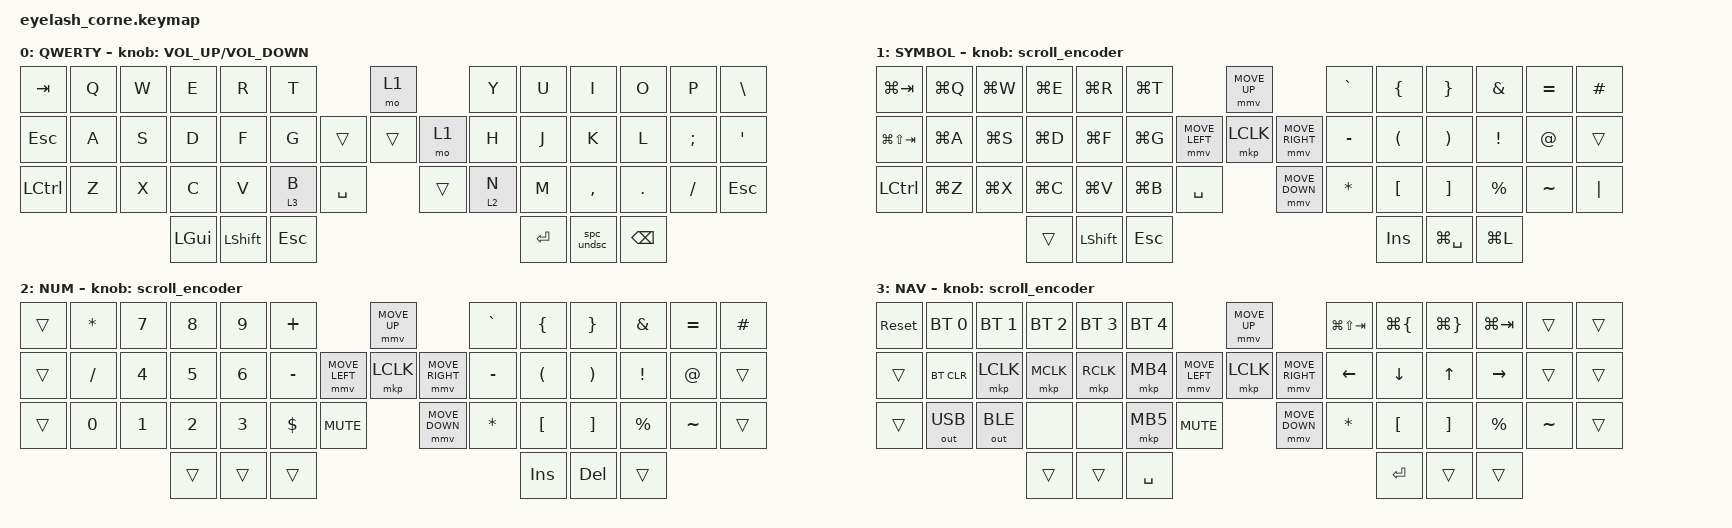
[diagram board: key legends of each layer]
#include <behaviors.dtsi>
#include <dt-bindings/zmk/bt.h>
#include <dt-bindings/zmk/keys.h>
#include <dt-bindings/zmk/mouse.h>
#include <dt-bindings/zmk/outputs.h>
#include <dt-bindings/zmk/rgb.h>

#include <input/processors.dtsi>

/*

   &mmv_input_listener {
       input-processors = <&zip_xy_scaler 2 1>;
   };

   &msc_input_listener {
       input-processors = <&zip_xy_scaler 2 1>;
   };

 */

#define ZMK_MOUSE_DEFAULT_MOVE_VAL 1200  // 600
#define ZMK_MOUSE_DEFAULT_SCRL_VAL 20    // 10

/ {
    behaviors {
        td0: td0 {
            compatible = "zmk,behavior-tap-dance";
            display-name = "Shift/Caps Lock Tap Dance";
            #binding-cells = <0>;
            bindings = <&kp LEFT_SHIFT>, <&kp CAPS>;
        };
    };

    rgb_encoder: rgb_encoder {
        compatible = "zmk,behavior-sensor-rotate";
        #sensor-binding-cells = <0>;
        bindings = <&rgb_ug RGB_BRI>, <&rgb_ug RGB_BRD>;
    };

    scroll_encoder: scroll_encoder {
        compatible = "zmk,behavior-sensor-rotate";
        #sensor-binding-cells = <0>;
        bindings = <&msc SCRL_DOWN>, <&msc SCRL_UP>;
        tap-ms = <30>;
    };
    spc_undsc: spc_undsc {
        compatible = "zmk,behavior-mod-morph";
        label = "SPACE_UNDERSCORE";
        #binding-cells = <0>;
        bindings = <&kp SPACE>, <&kp UNDER>;
        mods = <(MOD_LSFT)>;
        keep-mods = <(MOD_LSFT)>;
    };

    keymap {
        compatible = "zmk,keymap";

        default_layer {
            display-name = "QWERTY";
            bindings = <
&kp TAB    &kp Q  &kp W      &kp E     &kp R  &kp T                              &mo 1               &kp Y        &kp U  &kp I      &kp O    &kp P     &kp BSLH
&kp ESC    &kp A  &kp S      &kp D     &kp F  &kp G                    &trans    &trans  &mo 1       &kp H        &kp J  &kp K      &kp L    &kp SEMI  &kp SQT
&kp LCTRL  &kp Z  &kp X      &kp C     &kp V  &lt 3 B  &kp SPACE                 &trans              &lt 2 N        &kp M  &kp COMMA  &kp DOT  &kp FSLH  &kp ESC
                             &kp LGUI  &kp LEFT_SHIFT  &kp ESC                                         &kp ENTER    &spc_undsc   &kp BSPC
            >;
            sensor-bindings = <&inc_dec_kp C_VOLUME_UP C_VOLUME_DOWN>;
        };

        lower_layer {
            display-name = "SYMBOL";
            bindings = <
&kp LG(TAB)     &kp LG(Q)  &kp LG(W)     &kp LG(E)     &kp LG(R)  &kp LG(T)                           &mmv MOVE_UP                      &kp GRAVE     &kp LEFT_BRACE        &kp RIGHT_BRACE        &kp AMPERSAND    &kp EQUAL  &kp HASH
&kp LG(LS(TAB)) &kp LG(A)  &kp LG(S)     &kp LG(D)     &kp LG(F)  &kp LG(G)           &mmv MOVE_LEFT  &mkp LCLK       &mmv MOVE_RIGHT   &kp MINUS     &kp LEFT_PARENTHESIS  &kp RIGHT_PARENTHESIS  &kp EXCLAMATION  &kp AT     &trans
&kp LCTRL       &kp LG(Z)  &kp LG(X)     &kp LG(C)     &kp LG(V)  &kp LG(B) &kp SPACE                 &mmv MOVE_DOWN                    &kp ASTERISK  &kp LEFT_BRACKET      &kp RIGHT_BRACKET      &kp PERCENT      &kp TILDE  &kp PIPE
                                  &trans     &kp LEFT_SHIFT  &kp ESC                                                                    &kp INS       &kp LG(SPACE)         &kp LG(L)
            >;
            sensor-bindings = <&scroll_encoder>;
        };

        num_layer {
            display-name = "NUM";
            bindings = <
&trans  &kp ASTERISK  &kp NUMBER_7  &kp NUMBER_8  &kp NUMBER_9  &kp PLUS                                          &mmv MOVE_UP                     &kp GRAVE     &kp LEFT_BRACE        &kp RIGHT_BRACE        &kp AMPERSAND    &kp EQUAL  &kp HASH
&trans  &kp SLASH     &kp NUMBER_4  &kp NUMBER_5  &kp NUMBER_6  &kp MINUS                         &mmv MOVE_LEFT  &mkp LCLK       &mmv MOVE_RIGHT  &kp MINUS     &kp LEFT_PARENTHESIS  &kp RIGHT_PARENTHESIS  &kp EXCLAMATION  &kp AT     &trans
&trans  &kp NUMBER_0  &kp NUMBER_1  &kp NUMBER_2  &kp NUMBER_3  &kp DOLLAR    &kp C_MUTE                          &mmv MOVE_DOWN                  &kp ASTERISK    &kp LEFT_BRACKET      &kp RIGHT_BRACKET      &kp PERCENT      &kp TILDE  &trans
                                         &trans        &trans        &trans                                                                         &kp INS      &kp DEL          &trans
            >;
            sensor-bindings = <&scroll_encoder>;
        };

        raise_layer {
            display-name = "NAV";
            bindings = <
&sys_reset  &bt BT_SEL 0    &bt BT_SEL 1  &bt BT_SEL 2   &bt BT_SEL 3     &bt BT_SEL 4                          &mmv MOVE_UP                        &kp LG(LS(TAB))  &kp LG(LEFT_BRACE)  &kp LG(RIGHT_BRACE)  &kp LG(TAB)       &trans     &trans
&trans  &bt BT_CLR          &mkp LCLK     &mkp MCLK     &mkp RCLK         &mkp MB4                  &mmv MOVE_LEFT  &mkp LCLK   &mmv MOVE_RIGHT     &kp LEFT_ARROW  &kp DOWN_ARROW  &kp UP_ARROW  &kp RIGHT_ARROW  &trans  &trans
&trans  &out OUT_USB        &out OUT_BLE  &none         &none             &mkp MB5                  &kp C_MUTE      &mmv MOVE_DOWN                  &kp ASTERISK  &kp LEFT_BRACKET      &kp RIGHT_BRACKET      &kp PERCENT      &kp TILDE  &trans
                                    &trans     &trans     &kp SPACE                                                                     &kp RET    &trans     &trans
            >;
            sensor-bindings = <&scroll_encoder>;
        };

    };
};
